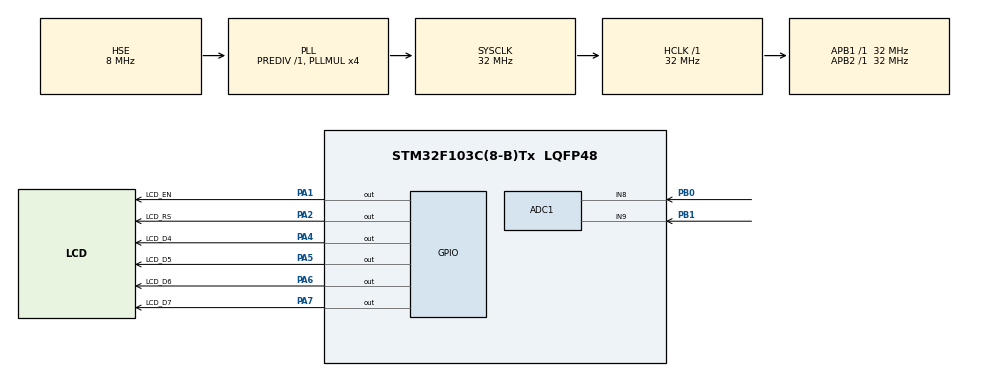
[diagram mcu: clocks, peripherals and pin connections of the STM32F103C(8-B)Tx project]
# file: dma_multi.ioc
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ADC1.Channel-0\#ChannelRegularConversion=ADC_CHANNEL_8
ADC1.Channel-1\#ChannelRegularConversion=ADC_CHANNEL_9
ADC1.ContinuousConvMode=ENABLE
ADC1.NbrOfConversion=2
ADC1.NbrOfConversionFlag=1
ADC1.Rank-0\#ChannelRegularConversion=1
ADC1.Rank-1\#ChannelRegularConversion=2
ADC1.SamplingTime-0\#ChannelRegularConversion=ADC_SAMPLETIME_55CYCLES_5
ADC1.SamplingTime-1\#ChannelRegularConversion=ADC_SAMPLETIME_55CYCLES_5
ADC1.master=1
Dma.ADC1.0.Direction=DMA_PERIPH_TO_MEMORY
Dma.ADC1.0.Instance=DMA1_Channel1
Dma.ADC1.0.MemDataAlignment=DMA_MDATAALIGN_WORD
Dma.ADC1.0.MemInc=DMA_MINC_ENABLE
Dma.ADC1.0.Mode=DMA_CIRCULAR
Dma.ADC1.0.PeriphDataAlignment=DMA_PDATAALIGN_WORD
Dma.ADC1.0.PeriphInc=DMA_PINC_DISABLE
Dma.ADC1.0.Priority=DMA_PRIORITY_MEDIUM
Dma.Request0=ADC1
Mcu.Family=STM32F1
Mcu.Name=STM32F103C(8-B)Tx
Mcu.Package=LQFP48
NVIC.DMA1_Channel1_IRQn=true\:0\:0\:false\:false\:true\:false\:true
NVIC.PriorityGroup=NVIC_PRIORITYGROUP_4
PA1.GPIO_Label=LCD_EN
PA1.Signal=GPIO_Output
PA13.Mode=Serial_Wire
PA13.Signal=SYS_JTMS-SWDIO
PA14.Mode=Serial_Wire
PA14.Signal=SYS_JTCK-SWCLK
PA2.GPIO_Label=LCD_RS
PA2.Signal=GPIO_Output
PA4.GPIO_Label=LCD_D4
PA4.Signal=GPIO_Output
PA5.GPIO_Label=LCD_D5
PA5.Signal=GPIO_Output
PA6.GPIO_Label=LCD_D6
PA6.Signal=GPIO_Output
PA7.GPIO_Label=LCD_D7
PA7.Signal=GPIO_Output
PB0.Signal=ADCx_IN8
PB1.Signal=ADCx_IN9
PD0-OSC_IN.Mode=HSE-External-Oscillator
PD0-OSC_IN.Signal=RCC_OSC_IN
PD1-OSC_OUT.Mode=HSE-External-Oscillator
PD1-OSC_OUT.Signal=RCC_OSC_OUT
ProjectManager.HeapSize=0x200
ProjectManager.StackSize=0x400
ProjectManager.TargetToolchain=MDK-ARM V5.32
RCC.ADCPresc=RCC_ADCPCLK2_DIV4
RCC.AHBFreq_Value=32000000
RCC.APB1Freq_Value=32000000
RCC.APB1TimFreq_Value=32000000
RCC.APB2Freq_Value=32000000
RCC.APB2TimFreq_Value=32000000
RCC.HCLKFreq_Value=32000000
RCC.PLLMUL=RCC_PLL_MUL4
RCC.PLLSourceVirtual=RCC_PLLSOURCE_HSE
RCC.SYSCLKFreq_VALUE=32000000
RCC.SYSCLKSource=RCC_SYSCLKSOURCE_PLLCLK
RCC.USBFreq_Value=32000000
SH.ADCx_IN8.0=ADC1_IN8,IN8
SH.ADCx_IN9.0=ADC1_IN9,IN9
board=custom

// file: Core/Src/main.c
/* USER CODE BEGIN Header */
/**
  ******************************************************************************
  * @file           : main.c
  * @brief          : Main program body
  ******************************************************************************
  * @attention
  *
  * <h2><center>&copy; Copyright (c) 2021 STMicroelectronics.
  * All rights reserved.</center></h2>
  *
  * This software component is licensed by ST under BSD 3-Clause license,
  * the "License"; You may not use this file except in compliance with the
  * License. You may obtain a copy of the License at:
  *                        opensource.org/licenses/BSD-3-Clause
  *
  ******************************************************************************
  */
/* USER CODE END Header */
#include "main.h"

/* USER CODE BEGIN PD */
	uint32_t data[2];
	uint32_t adcbuffer[2];
	char yazi1[32]=" ";
	char yazi2[32]=" ";
	char sayi[16]=" ";
	int i=0;
/* USER CODE END PD */

ADC_HandleTypeDef hadc1;
DMA_HandleTypeDef hdma_adc1;

void SystemClock_Config(void);
static void MX_GPIO_Init(void);
static void MX_DMA_Init(void);
static void MX_ADC1_Init(void);
/* USER CODE BEGIN PFP */
#include "LCD.h"
#include "stdio.h"
void HAL_ADC_ConvCpltCallback(ADC_HandleTypeDef* hadc)
{
if(hadc->Instance == ADC1)
{
data[0] = adcbuffer[0];
data[1] = adcbuffer[1];

}

}
/* USER CODE END PFP */

int main(void)
{

  /* MCU Configuration--------------------------------------------------------*/

  /* Reset of all peripherals, Initializes the Flash interface and the Systick. */
  HAL_Init();

  /* Configure the system clock */
  SystemClock_Config();

  /* Initialize all configured peripherals */
  MX_GPIO_Init();
  MX_DMA_Init();
  MX_ADC1_Init();
  /* USER CODE BEGIN 2 */
	lcd_init(_LCD_4BIT, _LCD_FONT_5x8, _LCD_2LINE);
	HAL_Delay(100);
	lcd_print(1,1,"Adc Uygulamasi ");
	lcd_print(2,1,"Degerler:");
	HAL_Delay(1000);
	HAL_ADC_Start_DMA(&hadc1,adcbuffer,2);

  /* USER CODE END 2 */

  /* Infinite loop */
  while (1)
  {

    /* USER CODE BEGIN 3 */
		sprintf(yazi1,"A1=%d             ",data[0]);
		sprintf(yazi2,"A2=%d             ",data[1]);
		lcd_print(1,1,yazi1);
		lcd_print(2,1,yazi2);
		HAL_Delay(100);
		i++;
		sprintf(sayi," t=%d", i);
		lcd_print(2,8,sayi);
		HAL_Delay(1000);
  }
  /* USER CODE END 3 */
}

void SystemClock_Config(void)
{
  RCC_OscInitTypeDef RCC_OscInitStruct = {0};
  RCC_ClkInitTypeDef RCC_ClkInitStruct = {0};
  RCC_PeriphCLKInitTypeDef PeriphClkInit = {0};

  /** Initializes the RCC Oscillators according to the specified parameters
  * in the RCC_OscInitTypeDef structure.
  */
  RCC_OscInitStruct.OscillatorType = RCC_OSCILLATORTYPE_HSE;
  RCC_OscInitStruct.HSEState = RCC_HSE_ON;
  RCC_OscInitStruct.HSEPredivValue = RCC_HSE_PREDIV_DIV1;
  RCC_OscInitStruct.HSIState = RCC_HSI_ON;
  RCC_OscInitStruct.PLL.PLLState = RCC_PLL_ON;
  RCC_OscInitStruct.PLL.PLLSource = RCC_PLLSOURCE_HSE;
  RCC_OscInitStruct.PLL.PLLMUL = RCC_PLL_MUL4;
  if (HAL_RCC_OscConfig(&RCC_OscInitStruct) != HAL_OK)
  {
    Error_Handler();
  }
  /** Initializes the CPU, AHB and APB buses clocks
  */
  RCC_ClkInitStruct.ClockType = RCC_CLOCKTYPE_HCLK|RCC_CLOCKTYPE_SYSCLK
                              |RCC_CLOCKTYPE_PCLK1|RCC_CLOCKTYPE_PCLK2;
  RCC_ClkInitStruct.SYSCLKSource = RCC_SYSCLKSOURCE_PLLCLK;
  RCC_ClkInitStruct.AHBCLKDivider = RCC_SYSCLK_DIV1;
  RCC_ClkInitStruct.APB1CLKDivider = RCC_HCLK_DIV1;
  RCC_ClkInitStruct.APB2CLKDivider = RCC_HCLK_DIV1;

  if (HAL_RCC_ClockConfig(&RCC_ClkInitStruct, FLASH_LATENCY_1) != HAL_OK)
  {
    Error_Handler();
  }
  PeriphClkInit.PeriphClockSelection = RCC_PERIPHCLK_ADC;
  PeriphClkInit.AdcClockSelection = RCC_ADCPCLK2_DIV4;
  if (HAL_RCCEx_PeriphCLKConfig(&PeriphClkInit) != HAL_OK)
  {
    Error_Handler();
  }
}

static void MX_ADC1_Init(void)
{

  ADC_ChannelConfTypeDef sConfig = {0};

  /** Common config
  */
  hadc1.Instance = ADC1;
  hadc1.Init.ScanConvMode = ADC_SCAN_ENABLE;
  hadc1.Init.ContinuousConvMode = ENABLE;
  hadc1.Init.DiscontinuousConvMode = DISABLE;
  hadc1.Init.ExternalTrigConv = ADC_SOFTWARE_START;
  hadc1.Init.DataAlign = ADC_DATAALIGN_RIGHT;
  hadc1.Init.NbrOfConversion = 2;
  if (HAL_ADC_Init(&hadc1) != HAL_OK)
  {
    Error_Handler();
  }
  /** Configure Regular Channel
  */
  sConfig.Channel = ADC_CHANNEL_8;
  sConfig.Rank = ADC_REGULAR_RANK_1;
  sConfig.SamplingTime = ADC_SAMPLETIME_55CYCLES_5;
  if (HAL_ADC_ConfigChannel(&hadc1, &sConfig) != HAL_OK)
  {
    Error_Handler();
  }
  /** Configure Regular Channel
  */
  sConfig.Channel = ADC_CHANNEL_9;
  sConfig.Rank = ADC_REGULAR_RANK_2;
  if (HAL_ADC_ConfigChannel(&hadc1, &sConfig) != HAL_OK)
  {
    Error_Handler();
  }

}

static void MX_DMA_Init(void)
{

  /* DMA controller clock enable */
  __HAL_RCC_DMA1_CLK_ENABLE();

  /* DMA interrupt init */
  /* DMA1_Channel1_IRQn interrupt configuration */
  HAL_NVIC_SetPriority(DMA1_Channel1_IRQn, 0, 0);
  HAL_NVIC_EnableIRQ(DMA1_Channel1_IRQn);

}

static void MX_GPIO_Init(void)
{
  GPIO_InitTypeDef GPIO_InitStruct = {0};

  /* GPIO Ports Clock Enable */
  __HAL_RCC_GPIOD_CLK_ENABLE();
  __HAL_RCC_GPIOA_CLK_ENABLE();
  __HAL_RCC_GPIOB_CLK_ENABLE();

  /*Configure GPIO pin Output Level */
  HAL_GPIO_WritePin(GPIOA, LCD_EN_Pin|LCD_RS_Pin|LCD_D4_Pin|LCD_D5_Pin
                          |LCD_D6_Pin|LCD_D7_Pin, GPIO_PIN_RESET);

  /*Configure GPIO pins : LCD_EN_Pin LCD_RS_Pin LCD_D4_Pin LCD_D5_Pin
                           LCD_D6_Pin LCD_D7_Pin */
  GPIO_InitStruct.Pin = LCD_EN_Pin|LCD_RS_Pin|LCD_D4_Pin|LCD_D5_Pin
                          |LCD_D6_Pin|LCD_D7_Pin;
  GPIO_InitStruct.Mode = GPIO_MODE_OUTPUT_PP;
  GPIO_InitStruct.Pull = GPIO_NOPULL;
  GPIO_InitStruct.Speed = GPIO_SPEED_FREQ_LOW;
  HAL_GPIO_Init(GPIOA, &GPIO_InitStruct);

}

void Error_Handler(void)
{
  __disable_irq();
  while (1)
  {
  }
}

/************************ (C) COPYRIGHT STMicroelectronics *****END OF FILE****/
